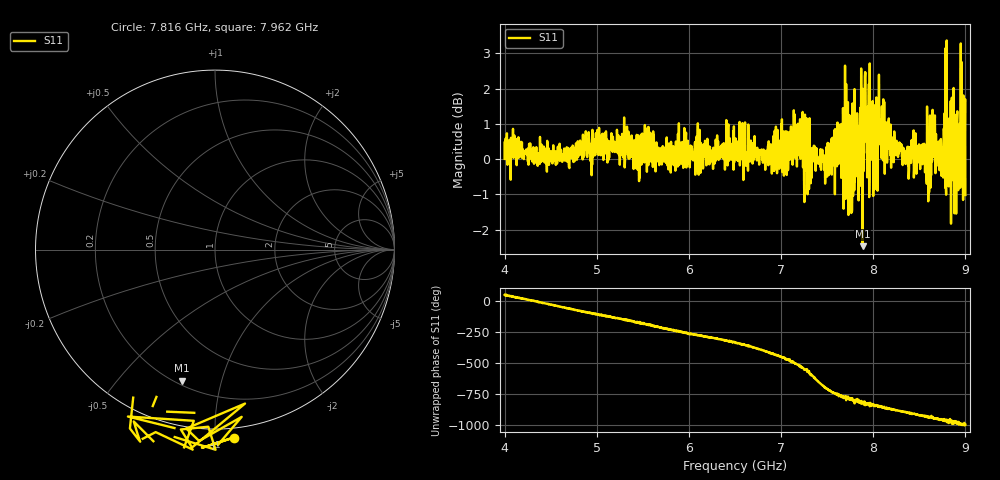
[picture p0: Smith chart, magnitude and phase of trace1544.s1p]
! Created with skrf 1.8.0 (http://scikit-rf.org).
# Hz S RI R 50.0
!freq ReS11 ImS11
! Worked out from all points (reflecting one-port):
!   1601 points, 4 GHz to 9 GHz, reference 50 ohm
!   lowest |S11| = -2.5 dB at 7.884 GHz (marker M1), VSWR 7.08, Z = 11.2 - j37.7 ohm
!   phase of S11 starts at 51 deg and turns -1051 deg over the sweep
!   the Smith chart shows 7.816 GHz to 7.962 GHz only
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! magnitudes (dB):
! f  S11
! 4 GHz  0.0
! 4.625 GHz  -0.1
! 5.25 GHz  -0.2
! 5.875 GHz  -0.1
! 6.5 GHz  0.0
! 6.959 GHz  -0.2
! 7.125 GHz  -0.2
! 7.494 GHz  0.1
! 7.669 GHz  -0.2
! 7.75 GHz  -0.2
! 7.884 GHz  -2.5
! 7.928 GHz  1.2
! 7.944 GHz  1.5
! 7.972 GHz  0.8
! 7.981 GHz  0.0
! 7.988 GHz  1.5
! 8.025 GHz  0.9
! 8.097 GHz  0.9
! 8.375 GHz  -0.1
! 8.441 GHz  -0.5
! 8.588 GHz  0.1
! 8.656 GHz  0.5
! 8.738 GHz  0.4
! 8.788 GHz  -0.8
! 8.825 GHz  1.2
! 8.9 GHz  -1.5
! 8.972 GHz  1.0
! 9 GHz  -1.0
